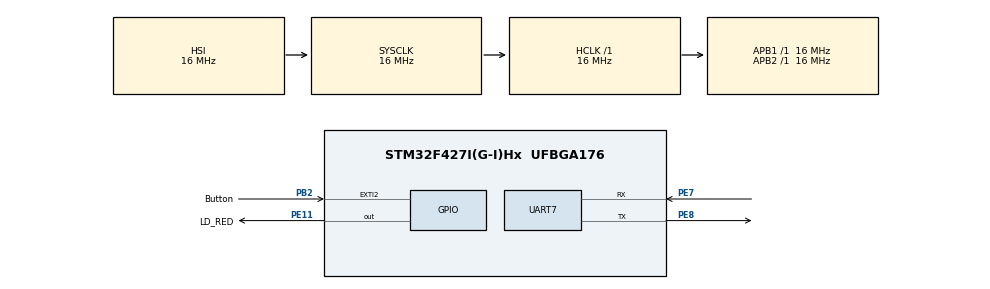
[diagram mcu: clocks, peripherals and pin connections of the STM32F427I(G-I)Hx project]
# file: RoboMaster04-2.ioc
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Dma.Request0=UART7_TX
Dma.UART7_TX.0.Direction=DMA_MEMORY_TO_PERIPH
Dma.UART7_TX.0.FIFOMode=DMA_FIFOMODE_DISABLE
Dma.UART7_TX.0.Instance=DMA1_Stream1
Dma.UART7_TX.0.MemDataAlignment=DMA_MDATAALIGN_BYTE
Dma.UART7_TX.0.MemInc=DMA_MINC_ENABLE
Dma.UART7_TX.0.Mode=DMA_NORMAL
Dma.UART7_TX.0.PeriphDataAlignment=DMA_PDATAALIGN_BYTE
Dma.UART7_TX.0.PeriphInc=DMA_PINC_DISABLE
Dma.UART7_TX.0.Priority=DMA_PRIORITY_LOW
Mcu.Family=STM32F4
Mcu.Name=STM32F427I(G-I)Hx
Mcu.Package=UFBGA176
NVIC.DMA1_Stream1_IRQn=true\:1\:0\:true\:false\:true\:false\:true
NVIC.EXTI2_IRQn=true\:1\:0\:true\:false\:true\:true\:true
NVIC.PriorityGroup=NVIC_PRIORITYGROUP_4
NVIC.UART7_IRQn=true\:1\:0\:true\:false\:true\:true\:true
PB2/BOOT1.GPIO_Label=Button
PB2/BOOT1.Signal=GPXTI2
PE11.GPIO_Label=LD_RED
PE11.Signal=GPIO_Output
PE7.Mode=Asynchronous
PE7.Signal=UART7_RX
PE8.Mode=Asynchronous
PE8.Signal=UART7_TX
ProjectManager.HeapSize=0x200
ProjectManager.StackSize=0x400
ProjectManager.TargetToolchain=SW4STM32
RCC.AHBFreq_Value=16000000
RCC.APB1Freq_Value=16000000
RCC.APB2Freq_Value=16000000
RCC.CortexFreq_Value=16000000
RCC.HSE_VALUE=25000000
RCC.HSI_VALUE=16000000
RCC.LSE_VALUE=32768
RCC.SYSCLKFreq_VALUE=16000000
RCC.VCOOutputFreq_Value=192000000
UART7.VirtualMode=Asynchronous
board=custom

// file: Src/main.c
/* USER CODE BEGIN Header */
/**
  ******************************************************************************
  * @file           : main.c
  * @brief          : Main program body
  ******************************************************************************
  * @attention
  *
  * <h2><center>&copy; Copyright (c) 2020 STMicroelectronics.
  * All rights reserved.</center></h2>
  *
  * This software component is licensed by ST under BSD 3-Clause license,
  * the "License"; You may not use this file except in compliance with the
  * License. You may obtain a copy of the License at:
  *                        opensource.org/licenses/BSD-3-Clause
  *
  ******************************************************************************
  */
/* USER CODE END Header */

#include "main.h"

/* USER CODE BEGIN Includes */
#include "string.h"
/* USER CODE END Includes */

UART_HandleTypeDef huart7;
DMA_HandleTypeDef hdma_uart7_tx;

void SystemClock_Config(void);
static void MX_GPIO_Init(void);
static void MX_DMA_Init(void);
static void MX_UART7_Init(void);

/* USER CODE BEGIN 0 */
char msg[]="\r\n"
           "                                    %@@@@@@@#\r\n"
           "                      .(&@&,        &@@@@@@@%        *@@&(\r\n"
           "                   %@@@@@@@@%%&@@@@@@@@@@@@@@@@@@@&%&@@@@@@@@#\r\n"
           "                    &@@@@@@@@@@@@@@@@@@@@@@@@@@@@@@@@@@@@@@@%\r\n"
           "                    #@@@@@@@@@@@@@@@@@@@@@@@@@@@@@@@@@@@@@@@/\r\n"
           "           ,.    .&@@@@@@@@@@@@@&(.           ,(&@@@@@@@@@@@@@&.    .,\r\n"
           "          &@@@@&@@@@@@@@@@@&,   ###%#%%%%#%%%####   *&@@@@@@@@@@@&@@@@%\r\n"
           "        /@@@@@@@@@@@@@@@&          ,@@@@@@@@&.         .&@@@@@@@@@@@@@@@,\r\n"
           "       (&@@@@@@@@@@@@@#             (@@@@@@@/             %@@@@@@@@@@@@@&*\r\n"
           "           &@@@@@@@@&.        ,%@@@@&@@@@@@@&@@@&%,        ,&@@@@@@@@%\r\n"
           "          /@@@@@@@@%       #@@@@@(  *@@@@@@&,  %@@@@&(       &@@@@@@@@/\r\n"
           "         .&@@@@@@@%      #@@@@@%    *@@@@@@&,    &@@@@@#      &@@@@@@@&.                #  \"There is no truth in flesh,     only betrayal.\"\r\n"
           "    ,%%%%&@@@@@@@@*     &@@@@@%     *@@@@@@&,     %@@@@@%     ,@@@@@@@@&%%%%            #  \"There is no strength in flesh,  only weakness.\"\r\n"
           "    /@@@@@@@@@@@@&.    #@@@@@@,     *@@@@@@&,     ,@@@@@@(    .&@@@@@@@@@@@&,           #  \"There is no constancy in flesh, only decay   .\"\r\n"
           "    /@@@@@@@@@@@@&     %@@@@@@,     *@@@@@@&,     ,@@@@@@#    .&@@@@@@@@@@@&,           #  \"There is no certainty in flesh, but death    .\"\r\n"
           "    *&@@@@@@@@@@@&,    .@@@@@@#     *@@@@@@&,     %@@@@@&     ,@@@@@@@@@@@@&.           #                                 — Credo Omnissiah\r\n"
           "         .&@@@@@@@#     .&@@@@@(    *@@@@@@&,    %@@@@@&      %@@@@@@@&.\r\n"
           "          (@@@@@@@@(      ,&@@@@&.  *@@@@@@&,  *&@@@@%.      #@@@@@@@@(                 Welcome back to Adeptus Mechanicus, Alchemic Ronin!\r\n"
           "           %@@@@@@@@%        .%@@@@&%@@@@@@@%&@@@@#.        %@@@@@@@@%\r\n"
           "       .(&@@@@@@@@@@@@,            *%@@@@@@@%*            (@@@@@@@@@@@@&/\r\n"
           "        %@@@@@@@@@@@@@@@/         .(@@@@@@@@@(.         #@@@@@@@@@@@@@@@#\r\n"
           "         .&@@@@@@@@@@@@@@@@(    ,***************,    #&@@@@@@@@@@@@@@@&.\r\n"
           "           %(    #@@@@@@@@@@@@@%*.             ./&@@@@@@@@@@@@@/   .##\r\n"
           "                   .&@@@@@@@@@@@@@@@@@@@@@@@@@@@@@@@@@@@@@@@%.\r\n"
           "                    #@@@@@@@@@@@@@@@@@@@@@@@@@@@@@@@@@@@@@@@(\r\n"
           "                   &@@@@@@@@@&@@@@@@@@@@@@@@@@@@@@@&@@@@@@@@@%\r\n"
           "                      /&@@@/      .*&@@@@@@@&,.      (@@@&/\r\n"
           "                                    %@@@@@@@#\r\n"
           "                                    .,,,,,,,.\r\n"
           "\r\n";
/* USER CODE END 0 */

int main(void)
{

  /* MCU Configuration--------------------------------------------------------*/

  /* Reset of all peripherals, Initializes the Flash interface and the Systick. */
  HAL_Init();

  /* Configure the system clock */
  SystemClock_Config();

  /* Initialize all configured peripherals */
  MX_GPIO_Init();
  MX_DMA_Init();
  MX_UART7_Init();
  /* USER CODE BEGIN 2 */
  HAL_GPIO_WritePin(LD_RED_GPIO_Port,LD_RED_Pin,GPIO_PIN_SET);
  /* USER CODE END 2 */

  /* Infinite loop */
  while (1)
  {

  }
}

void SystemClock_Config(void)
{
  RCC_OscInitTypeDef RCC_OscInitStruct = {0};
  RCC_ClkInitTypeDef RCC_ClkInitStruct = {0};

  /** Configure the main internal regulator output voltage
  */
  __HAL_RCC_PWR_CLK_ENABLE();
  __HAL_PWR_VOLTAGESCALING_CONFIG(PWR_REGULATOR_VOLTAGE_SCALE3);
  /** Initializes the CPU, AHB and APB busses clocks
  */
  RCC_OscInitStruct.OscillatorType = RCC_OSCILLATORTYPE_HSI;
  RCC_OscInitStruct.HSIState = RCC_HSI_ON;
  RCC_OscInitStruct.HSICalibrationValue = RCC_HSICALIBRATION_DEFAULT;
  RCC_OscInitStruct.PLL.PLLState = RCC_PLL_NONE;
  if (HAL_RCC_OscConfig(&RCC_OscInitStruct) != HAL_OK)
  {
    Error_Handler();
  }
  /** Initializes the CPU, AHB and APB busses clocks
  */
  RCC_ClkInitStruct.ClockType = RCC_CLOCKTYPE_HCLK|RCC_CLOCKTYPE_SYSCLK
                              |RCC_CLOCKTYPE_PCLK1|RCC_CLOCKTYPE_PCLK2;
  RCC_ClkInitStruct.SYSCLKSource = RCC_SYSCLKSOURCE_HSI;
  RCC_ClkInitStruct.AHBCLKDivider = RCC_SYSCLK_DIV1;
  RCC_ClkInitStruct.APB1CLKDivider = RCC_HCLK_DIV1;
  RCC_ClkInitStruct.APB2CLKDivider = RCC_HCLK_DIV1;

  if (HAL_RCC_ClockConfig(&RCC_ClkInitStruct, FLASH_LATENCY_0) != HAL_OK)
  {
    Error_Handler();
  }
}

static void MX_UART7_Init(void)
{

  huart7.Instance = UART7;
  huart7.Init.BaudRate = 115200;
  huart7.Init.WordLength = UART_WORDLENGTH_8B;
  huart7.Init.StopBits = UART_STOPBITS_1;
  huart7.Init.Parity = UART_PARITY_NONE;
  huart7.Init.Mode = UART_MODE_TX_RX;
  huart7.Init.HwFlowCtl = UART_HWCONTROL_NONE;
  huart7.Init.OverSampling = UART_OVERSAMPLING_16;
  if (HAL_UART_Init(&huart7) != HAL_OK)
  {
    Error_Handler();
  }

}

static void MX_DMA_Init(void)
{

  /* DMA controller clock enable */
  __HAL_RCC_DMA1_CLK_ENABLE();

  /* DMA interrupt init */
  /* DMA1_Stream1_IRQn interrupt configuration */
  HAL_NVIC_SetPriority(DMA1_Stream1_IRQn, 1, 0);
  HAL_NVIC_EnableIRQ(DMA1_Stream1_IRQn);

}

static void MX_GPIO_Init(void)
{
  GPIO_InitTypeDef GPIO_InitStruct = {0};

  /* GPIO Ports Clock Enable */
  __HAL_RCC_GPIOB_CLK_ENABLE();
  __HAL_RCC_GPIOE_CLK_ENABLE();

  /*Configure GPIO pin Output Level */
  HAL_GPIO_WritePin(LD_RED_GPIO_Port, LD_RED_Pin, GPIO_PIN_RESET);

  /*Configure GPIO pin : Button_Pin */
  GPIO_InitStruct.Pin = Button_Pin;
  GPIO_InitStruct.Mode = GPIO_MODE_IT_RISING;
  GPIO_InitStruct.Pull = GPIO_NOPULL;
  HAL_GPIO_Init(Button_GPIO_Port, &GPIO_InitStruct);

  /*Configure GPIO pin : LD_RED_Pin */
  GPIO_InitStruct.Pin = LD_RED_Pin;
  GPIO_InitStruct.Mode = GPIO_MODE_OUTPUT_PP;
  GPIO_InitStruct.Pull = GPIO_NOPULL;
  GPIO_InitStruct.Speed = GPIO_SPEED_FREQ_LOW;
  HAL_GPIO_Init(LD_RED_GPIO_Port, &GPIO_InitStruct);

  /* EXTI interrupt init*/
  HAL_NVIC_SetPriority(EXTI2_IRQn, 1, 0);
  HAL_NVIC_EnableIRQ(EXTI2_IRQn);

}

/* USER CODE BEGIN 4 */
void HAL_GPIO_EXTI_Callback(uint16_t GPIO_Pin){
	if(GPIO_Pin == Button_Pin){
		HAL_Delay(500);
		HAL_DMA_Start_IT(&hdma_uart7_tx,(uint32_t)msg,(uint32_t)&huart7.Instance->DR,strlen(msg));
		huart7.Instance->CR3|=USART_CR3_DMAT;
	}
}

void XferCpltCallback(DMA_HandleTypeDef *hdma){
	if(hdma->Instance == DMA1_Stream1){
		huart7.Instance->CR3&=~USART_CR3_DMAT;
		HAL_GPIO_TogglePin(LD_RED_GPIO_Port,LD_RED_Pin);
		HAL_Delay(200);
		HAL_GPIO_TogglePin(LD_RED_GPIO_Port,LD_RED_Pin);
	}
}
/* USER CODE END 4 */

void Error_Handler(void)
{
}

/************************ (C) COPYRIGHT STMicroelectronics *****END OF FILE****/
